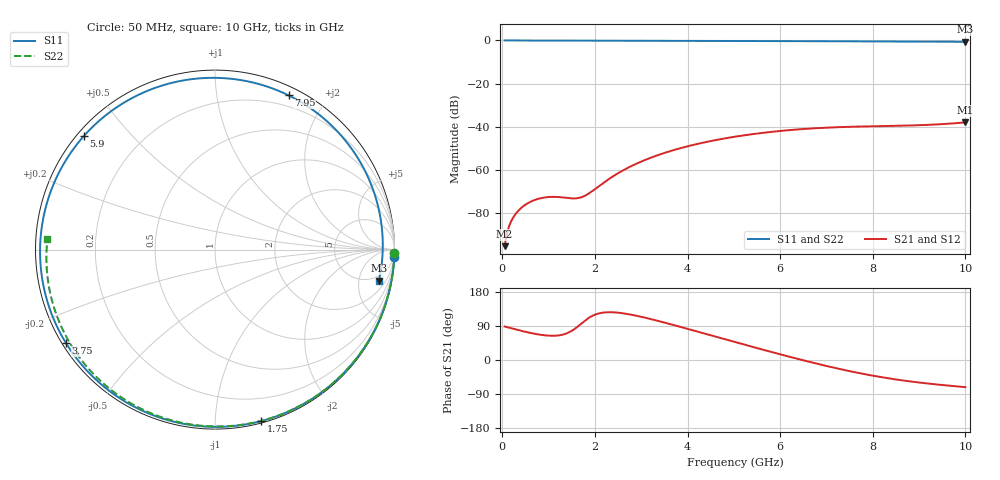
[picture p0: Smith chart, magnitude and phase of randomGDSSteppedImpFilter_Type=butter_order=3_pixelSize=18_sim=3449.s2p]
! freq	dB(S11)	phase(S11)	dB(S12)	phase(S12)
!  dB(S21)	phase(S21)	dB(S22)	phase(S22)
!S-par simulation data
#  GHz  S  DB  R 50
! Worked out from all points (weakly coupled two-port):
!   200 points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, 50 MHz to 10 GHz, reference 50 ohm
!   highest |S21| = -37.94 dB at 10 GHz (marker M1); lowest = -95.3 dB at 50 MHz (marker M2)
!   lowest |S11| = -0.6 dB at 10 GHz (marker M3), VSWR 27.39, Z = 180 - j461 ohm
!   |S11| at or under -10 dB: nowhere
!   |S22| runs from -0.6 to 0.0 dB; largest |S21 - S12| = 0
!   S11 on the Smith chart (normalised r, x): 50 MHz: 0, -51; 1.75 GHz: 0.01, -1.31; 3.75 GHz: 0.01, -0.29; 5.9 GHz: 0.02, +0.37; 7.95 GHz: 0.09, +1.58; 10 GHz: 3.61, -9.21
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0.05  -0.00 -2.3  -95.27 88.4  -95.27 88.4  -0.00 -1.1
0.3  -0.02 -13.4  -80.00 80.4  -80.00 80.4  -0.01 -6.5
0.55  -0.03 -24.4  -75.39 73.0  -75.39 73.0  -0.02 -11.9
0.85  -0.05 -37.4  -72.97 66.1  -72.97 66.1  -0.02 -18.3
1.3  -0.07 -56.5  -72.68 66.8  -72.68 66.8  -0.04 -27.8
1.55  -0.08 -66.8  -73.16 81.0  -73.16 81.0  -0.04 -33.0
1.75  -0.09 -74.9  -72.27 100.4  -72.27 100.4  -0.05 -37.2
2.1  -0.11 -88.6  -67.27 123.3  -67.27 123.3  -0.06 -44.4
2.5  -0.12 -103.7  -61.48 124.9  -61.48 124.9  -0.07 -52.5
2.95  -0.14 -120.1  -56.55 115.4  -56.55 115.4  -0.08 -61.4
3.4  -0.16 -136.0  -52.82 102.0  -52.82 102.0  -0.09 -70.1
3.75  -0.18 -148.0  -50.47 90.6  -50.47 90.6  -0.10 -76.7
4.4  -0.21 -169.9  -47.04 68.7  -47.04 68.7  -0.13 -88.7
5.05  -0.24 168.3  -44.49 46.5  -44.49 46.5  -0.15 -100.3
5.9  -0.30 139.2  -42.13 18.2  -42.13 18.2  -0.20 -115.0
6.7  -0.35 110.9  -40.73 -6.9  -40.73 -6.9  -0.25 -128.4
7.35  -0.39 87.0  -40.09 -25.5  -40.09 -25.5  -0.30 -139.1
7.95  -0.43 64.5  -39.76 -40.2  -39.76 -40.2  -0.35 -149.0
8.35  -0.45 49.4  -39.60 -48.5  -39.60 -48.5  -0.39 -155.6
8.8  -0.49 32.4  -39.38 -56.4  -39.38 -56.4  -0.43 -163.0
9.2  -0.53 17.6  -39.08 -62.2  -39.08 -62.2  -0.48 -169.8
10  -0.63 -10.8  -37.94 -71.7  -37.94 -71.7  -0.58 176.4
